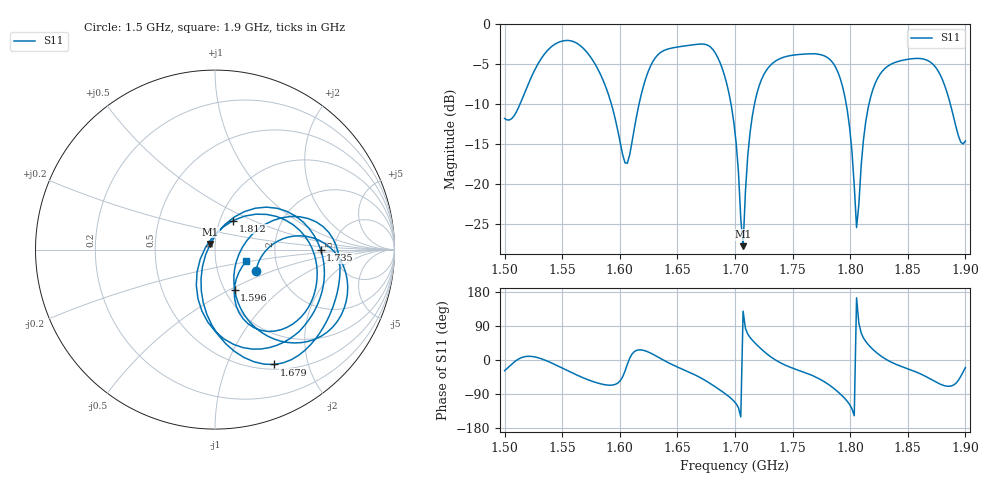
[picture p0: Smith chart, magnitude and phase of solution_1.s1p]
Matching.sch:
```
<Qucs Schematic 25.1.2>
<Properties>
  <View=0,-18,605,750,1,0,198>
  <Grid=10,10,1>
  <DataSet=Matching.dat>
  <DataDisplay=Matching.dpl>
  <OpenDisplay=0>
  <Script=Matching.m>
  <RunScript=0>
  <showFrame=0>
  <FrameText0=Title>
  <FrameText1=Drawn By:>
  <FrameText2=Date:>
  <FrameText3=Revision:>
</Properties>
<Symbol>
</Symbol>
<Components>
  <GND * 1 350 200 0 0 0 0>
  <Pac P1 1 200 200 18 -26 0 1 "1" 1 "50 Ohm" 1 "0 dBm" 0 "1 MHz" 0 "26.85" 0 "true" 0>
  <GND * 1 200 230 0 0 0 0>
  <.SP SP1 1 60 30 0 70 0 0 "lin" 1 "1.5 GHz" 1 "1.9 GHz" 1 "200" 1 "no" 0 "1" 0 "2" 0 "no" 0 "no" 0>
  <SPfile X1 1 350 170 -26 -55 0 0 "solution_1.s1p" 1 "polar" 0 "cubic" 0 "open" 0 "1" 0>
</Components>
<Wires>
  <200 170 320 170 "" 0 0 0 "">
</Wires>
<Diagrams>
  <Smith 93 705 452 452 3 #c0c0c0 1 00 1 0 1 1 1 0 4 18.8649 1 0 1 1 315 0 225 1 0 0 "" "" "">
	<"S[1,1]" #0000ff 1 3 0 0 0>
  </Smith>
</Diagrams>
<Paintings>
</Paintings>
```
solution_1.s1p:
!Created with skrf (http://scikit-rf.org).
# GHz S RI R 50.0
! Port[1] = 1
!freq ReS11 ImS11
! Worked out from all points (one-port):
!   200 points, 1.5 GHz to 1.9 GHz, reference 50 ohm
!   lowest |S11| = -27.7 dB at 1.707 GHz (marker M1), VSWR 1.09, Z = 47.4 + j3.04 ohm
!   |S11| at or under -10 dB: 1.593 GHz to 1.617 GHz (23.91 MHz wide, 1.49 % of centre); 1.697 GHz to 1.717 GHz (20.32 MHz wide, 1.19 % of centre); 1.797 GHz to 1.816 GHz (19.72 MHz wide, 1.09 % of centre)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
!   S11 on the Smith chart (normalised r, x): 1.5 GHz: 1.53, -0.40; 1.596 GHz: 1.11, -0.53; 1.679 GHz: 0.56, -1.49; 1.735 GHz: 3.86, -0.01; 1.812 GHz: 1.16, +0.39; 1.9 GHz: 1.41, -0.19
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1.5  0.2277 -0.1214
1.548241  0.7377 -0.248
1.596482  0.1092 -0.2228
1.634673  0.6577 0.0602
1.678894  0.3278 -0.6401
1.707035  -0.0258 0.032
1.715075  0.1643 0.212
1.735176  0.5888 -0.000624
1.767337  0.4927 -0.4297
1.793467  -0.0401 -0.4037
1.805528  -0.0517 0.0146
1.811558  0.1015 0.162
1.857789  0.517 -0.327
1.9  0.1753 -0.064
